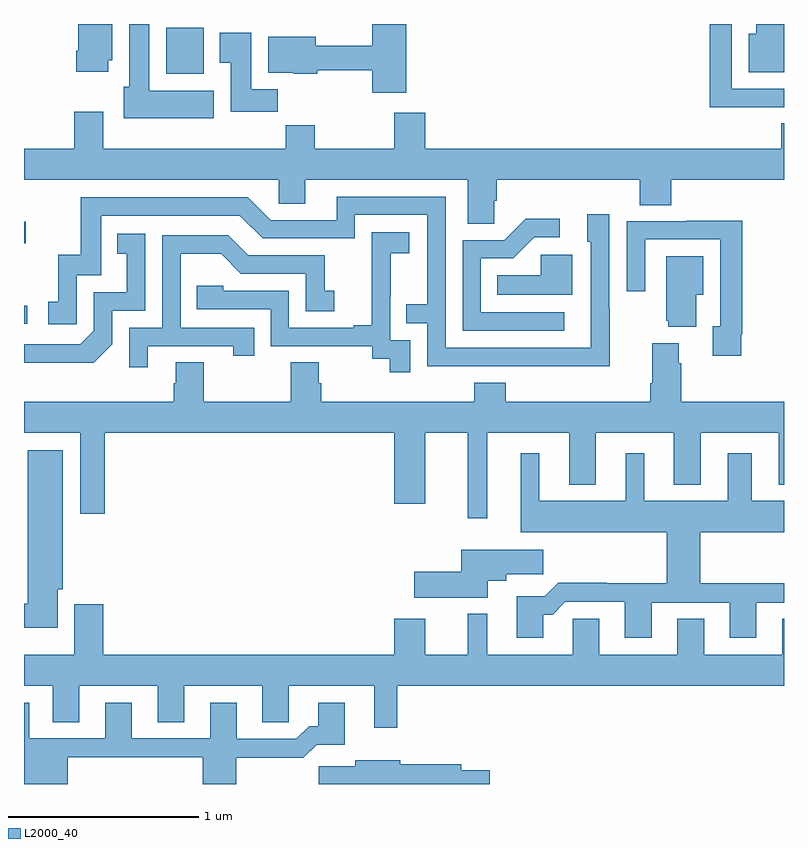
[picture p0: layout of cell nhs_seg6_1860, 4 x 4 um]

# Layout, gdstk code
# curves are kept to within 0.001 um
import gdstk
lib = gdstk.Library(unit=1e-6, precision=1e-09)
def R(c, l, rs):  # rectangles x0, y0, x1, y1
    for r in rs: c.add(gdstk.rectangle(r[:2], r[2:], *l))
def P(c, l, *ps):  # polygons
    for p in ps: c.add(gdstk.Polygon(p, *l))
L2000_40 = (2000, 40)

nhs_seg6_1860 = lib.new_cell('nhs_seg6_1860')
R(nhs_seg6_1860, L2000_40, [(223,935.922,223.018,936.018), (223,936.347,223.008,936.46), (223.748,937.238,223.945,937.48)])
P(nhs_seg6_1860, L2000_40, [(226.901,937.062),(227,937.062),(227,937.158),(226.725,937.158),(226.725,937.5),(226.609,937.5),(226.609,937.061),(226.901,937.061)],
  [(223.444,937.308),(223.465,937.308),(223.465,937.5),(223.286,937.5),(223.286,937.36),(223.274,937.36),(223.274,937.248),(223.444,937.248)],
  [(223.999,937.15),(223.66,937.15),(223.66,937.5),(223.553,937.5),(223.553,937.17),(223.526,937.17),(223.526,937.004),(223.999,937.004)],
  [(227,937.5),(226.853,937.5),(226.853,937.45),(226.814,937.45),(226.814,937.247),(227,937.247)],
  [(225.011,937.498),(224.833,937.498),(224.833,937.385),(224.536,937.385),(224.536,937.432),(224.285,937.432),(224.285,937.244),(224.418,937.244),(224.418,937.238),(224.544,937.238),(224.544,937.257),(224.833,937.257),(224.833,937.137),(225.011,937.137)],
  [(224.336,937.156),(224.197,937.156),(224.197,937.453),(224.03,937.453),(224.03,937.297),(224.087,937.297),(224.087,937.038),(224.336,937.038)],
  [(225.474,936.571),(225.488,936.571),(225.488,936.68),(226.241,936.68),(226.241,936.547),(226.406,936.547),(226.406,936.68),(227,936.68),(227,936.977),(226.985,936.977),(226.985,936.844),(225.112,936.844),(225.112,937.033),(224.948,937.033),(224.948,936.844),(224.529,936.844),(224.529,936.968),(224.377,936.968),(224.377,936.844),(223.417,936.844),(223.417,937.039),(223.265,937.039),(223.265,936.844),(223,936.844),(223,936.68),(224.34,936.68),(224.34,936.553),(224.479,936.553),(224.479,936.68),(225.335,936.68),(225.335,936.448),(225.474,936.448)],
  [(226.083,936.005),(226.08,936.005),(226.08,936.499),(225.965,936.499),(225.965,936.354),(225.984,936.354),(225.983,935.796),(225.219,935.796),(225.219,936.591),(224.645,936.591),(224.645,936.468),(224.298,936.468),(224.178,936.588),(223.299,936.588),(223.299,936.286),(223.181,936.286),(223.181,936.039),(223.128,936.039),(223.128,935.919),(223.278,935.919),(223.278,936.177),(223.407,936.177),(223.407,936.492),(224.136,936.492),(224.256,936.372),(224.742,936.372),(224.742,936.495),(225.123,936.495),(225.123,936.026),(225.013,936.026),(225.013,935.925),(225.123,935.925),(225.123,935.7),(226.083,935.699)],
  [(225.844,935.982),(225.405,935.982),(225.405,936.267),(225.574,936.267),(225.685,936.378),(225.82,936.378),(225.82,936.476),(225.641,936.476),(225.528,936.363),(225.309,936.363),(225.309,935.886),(225.844,935.886)],
  [(226.774,935.866),(226.781,935.866),(226.781,936.464),(226.489,936.464),(226.489,936.462),(226.173,936.462),(226.173,936.093),(226.269,936.093),(226.269,936.366),(226.665,936.366),(226.665,935.91),(226.625,935.91),(226.625,935.754),(226.774,935.754)],
  [(225.033,935.835),(224.928,935.835),(224.928,936.065),(224.93,936.065),(224.93,936.293),(225.028,936.293),(225.028,936.403),(224.83,936.403),(224.83,936.197),(224.831,936.197),(224.831,935.914),(224.735,935.914),(224.735,935.901),(224.394,935.901),(224.394,936.096),(224.049,936.096),(224.049,936.123),(223.909,936.123),(223.909,936),(224.298,936),(224.298,935.805),(224.832,935.805),(224.832,935.737),(224.925,935.737),(224.925,935.667),(225.033,935.667)],
  [(223.464,935.814),(223.464,935.991),(223.638,935.991),(223.638,936.397),(223.492,936.397),(223.492,936.291),(223.541,936.291),(223.541,936.087),(223.368,936.087),(223.368,935.886),(223.296,935.814),(223,935.814),(223,935.717),(223.366,935.717)],
  [(223.651,935.805),(224.102,935.805),(224.102,935.754),(224.213,935.754),(224.213,935.901),(223.824,935.901),(223.824,936.29),(224.038,936.29),(224.142,936.186),(224.484,936.186),(224.484,935.988),(224.632,935.988),(224.632,936.097),(224.583,936.097),(224.583,936.282),(224.179,936.282),(224.074,936.387),(223.728,936.387),(223.728,935.901),(223.554,935.901),(223.554,935.694),(223.651,935.694)],
  [(225.886,936.286),(225.721,936.286),(225.721,936.178),(225.49,936.178),(225.49,936.074),(225.886,936.074)],
  [(226.537,936.074),(226.576,936.074),(226.576,936.277),(226.379,936.277),(226.379,935.937),(226.391,935.937),(226.391,935.906),(226.537,935.906)],
  [(225.439,935.348),(225.869,935.348),(225.869,935.075),(226.009,935.075),(226.009,935.348),(226.421,935.348),(226.421,935.075),(226.561,935.075),(226.561,935.348),(226.973,935.348),(226.973,935.075),(227,935.075),(227,935.512),(226.46,935.512),(226.46,935.714),(226.447,935.714),(226.447,935.821),(226.307,935.821),(226.307,935.608),(226.295,935.608),(226.295,935.512),(225.536,935.512),(225.536,935.611),(225.371,935.611),(225.371,935.512),(224.564,935.512),(224.564,935.61),(224.551,935.61),(224.551,935.72),(224.404,935.72),(224.404,935.512),(223.947,935.512),(223.947,935.72),(223.799,935.72),(223.799,935.61),(223.787,935.61),(223.787,935.512),(223,935.512),(223,935.348),(223.295,935.348),(223.295,934.923),(223.424,934.923),(223.424,935.348),(224.948,935.348),(224.948,934.974),(225.112,934.974),(225.112,935.348),(225.335,935.348),(225.335,934.899),(225.439,934.899)],
  [(223.177,934.524),(223.204,934.524),(223.204,935.257),(223.019,935.257),(223.019,934.448),(223,934.448),(223,934.322),(223.177,934.322)],
  [(225.733,934.391),(225.782,934.391),(225.849,934.458),(226.163,934.458),(226.163,934.269),(226.303,934.269),(226.303,934.455),(226.715,934.455),(226.715,934.269),(226.855,934.269),(226.855,934.455),(227,934.455),(227,934.556),(226.56,934.556),(226.56,934.826),(227,934.826),(227,934.99),(226.831,934.99),(226.831,935.242),(226.703,935.242),(226.703,934.99),(226.264,934.99),(226.264,935.242),(226.166,935.242),(226.166,934.99),(225.712,934.99),(225.712,935.242),(225.614,935.242),(225.614,934.826),(226.382,934.826),(226.382,934.556),(226.067,934.556),(226.067,934.559),(225.812,934.559),(225.742,934.489),(225.593,934.489),(225.593,934.269),(225.733,934.269)],
  [(225.442,934.571),(225.538,934.571),(225.538,934.603),(225.733,934.603),(225.733,934.732),(225.302,934.732),(225.302,934.616),(225.054,934.616),(225.054,934.481),(225.442,934.481)],
  [(224.965,934.016),(227,934.016),(227,934.37),(226.991,934.37),(226.991,934.18),(226.579,934.18),(226.579,934.37),(226.439,934.37),(226.439,934.18),(226.027,934.18),(226.027,934.37),(225.888,934.37),(225.888,934.18),(225.439,934.18),(225.439,934.396),(225.335,934.396),(225.335,934.18),(225.112,934.18),(225.112,934.369),(224.948,934.369),(224.948,934.18),(223.418,934.18),(223.418,934.447),(223.265,934.447),(223.265,934.18),(223,934.18),(223,934.016),(223.151,934.016),(223.151,933.826),(223.291,933.826),(223.291,934.016),(223.703,934.016),(223.703,933.826),(223.843,933.826),(223.843,934.016),(224.255,934.016),(224.255,933.826),(224.394,933.826),(224.394,934.016),(224.843,934.016),(224.843,933.795),(224.965,933.795)],
  [(223.231,933.64),(223.94,933.64),(223.94,933.5),(224.118,933.5),(224.118,933.638),(224.471,933.638),(224.54,933.707),(224.689,933.707),(224.689,933.928),(224.549,933.928),(224.549,933.805),(224.5,933.805),(224.433,933.738),(224.119,933.738),(224.119,933.928),(223.979,933.928),(223.979,933.741),(223.567,933.741),(223.567,933.928),(223.427,933.928),(223.427,933.741),(223.027,933.741),(223.027,933.928),(223,933.928),(223,933.5),(223.231,933.5)],
  [(225.451,933.573),(225.301,933.573),(225.301,933.603),(224.98,933.603),(224.98,933.625),(224.744,933.625),(224.744,933.593),(224.55,933.593),(224.55,933.5),(225.451,933.5)])

lib.write_gds('nhs_seg6_1860.gds')
